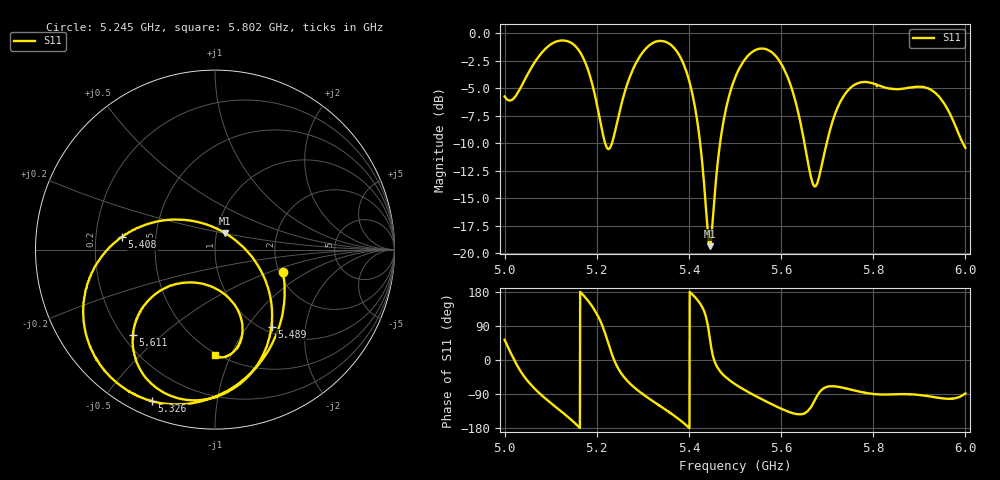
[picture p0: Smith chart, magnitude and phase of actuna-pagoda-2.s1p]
# HZ S RI R 50
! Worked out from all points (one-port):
!   2020 points, 5 GHz to 6 GHz, reference 50 ohm
!   lowest |S11| = -19.3 dB at 5.445 GHz (marker M1), VSWR 1.24, Z = 55.1 + j10.2 ohm
!   |S11| at or under -10 dB: 5.21822 GHz to 5.232822 GHz (14.6 MHz wide, 0.279 % of centre); 5.424 GHz to 5.468 GHz (43.06 MHz wide, 0.791 % of centre); 5.651 GHz to 5.699 GHz (47.99 MHz wide, 0.846 % of centre)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
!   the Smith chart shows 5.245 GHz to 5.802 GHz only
!   S11 on the Smith chart (normalised r, x): 5.245 GHz: 2.09, -0.62; 5.326 GHz: 0.06, -0.67; 5.408 GHz: 0.31, +0.06; 5.489 GHz: 1.09, -1.32; 5.611 GHz: 0.24, -0.40; 5.802 GHz: 0.48, -0.88
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5e9  0.3084 0.4143
5.030213e9  0.5084 -0.1935
5.068351e9  0.1381 -0.7422
5.096087e9  -0.2899 -0.8288
5.12531e9  -0.6911 -0.6195
5.160971e9  -0.8368 -0.0517
5.194651e9  -0.3681 0.3935
5.222883e9  0.1829 0.238
5.244676e9  0.3786 -0.1245
5.250124e9  0.3871 -0.2219
5.289748e9  0.1227 -0.7533
5.326399e9  -0.3504 -0.8445
5.375434e9  -0.7338 -0.3622
5.408123e9  -0.5186 0.0705
5.44527e9  0.0572 0.0914
5.468054e9  0.2776 -0.1638
5.488856e9  0.3151 -0.4315
5.500248e9  0.2763 -0.5661
5.552254e9  -0.1452 -0.8383
5.610699e9  -0.4579 -0.4739
5.625062e9  -0.4199 -0.3471
5.673601e9  -0.0533 -0.1942
5.709262e9  0.1361 -0.358
5.750372e9  0.1225 -0.5518
5.802378e9  1.47e-05 -0.5898
5.875186e9  -0.00215 -0.5655
5.939079e9  -0.0876 -0.5185
6.000001e9  0.00917 -0.3017
